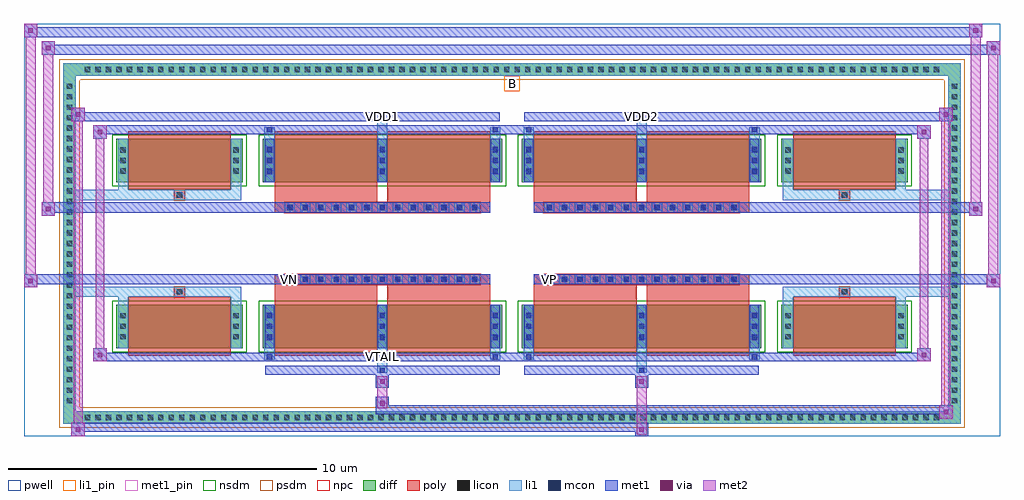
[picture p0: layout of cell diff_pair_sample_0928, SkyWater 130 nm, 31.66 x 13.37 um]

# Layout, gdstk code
import gdstk
lib = gdstk.Library(unit=1e-6, precision=5e-09)
def R(c, l, rs):  # rectangles x0, y0, x1, y1
    for r in rs: c.add(gdstk.rectangle(r[:2], r[2:], *l))
def A(c, l, x, y, w, h, nx, ny, dx, dy):  # array of equal rectangles
    R(c, l, [(x+i*dx, y+j*dy, x+i*dx+w, y+j*dy+h) for i in range(nx) for j in range(ny)])
def P(c, l, *ps):  # polygons
    for p in ps: c.add(gdstk.Polygon(p, *l))
pwell = (64, 44)
diff = (65, 20)
poly = (66, 20)
licon = (66, 44)
li1_pin = (67, 16)
li1 = (67, 20)
mcon = (67, 44)
met1_pin = (68, 16)
met1 = (68, 20)
via = (68, 44)
met2 = (69, 20)
nsdm = (93, 44)
psdm = (94, 20)
npc = (95, 20)

diff_pair_sample_0928 = lib.new_cell('diff_pair_sample_0928')
R(diff_pair_sample_0928, pwell, [(-15.83,-6.25,15.83,7.12), (-13.15,-4.44,-0.01,-0.8), (0.01,-4.44,13.15,-0.8), (-13.15,0.8,-0.01,4.44), (0.01,0.8,13.15,4.44)])
A(diff_pair_sample_0928, diff, -13.975, -5.85, 0.41, 0.41, 82, 2, 0.34, 11.29)
A(diff_pair_sample_0928, diff, -14.56, -5.305, 0.41, 0.41, 1, 31, 0, 0.34)
A(diff_pair_sample_0928, diff, 14.15, -5.305, 0.41, 0.41, 1, 31, 0, 0.34)
R(diff_pair_sample_0928, diff, [(-13.975,-5.85,13.975,-5.44), (-14.56,-5.305,-14.15,5.305), (14.15,-5.305,14.56,5.305), (-12.84,-3.395,-8.73,-1.985), (-8.09,-3.395,-0.32,-1.985), (0.32,-3.395,8.09,-1.985), (8.73,-3.395,12.84,-1.985), (-12.84,1.985,-8.73,3.395), (-8.09,1.985,-0.32,3.395), (0.32,1.985,8.09,3.395), (8.73,1.985,12.84,3.395), (-13.975,5.44,13.975,5.85)])
P(diff_pair_sample_0928, diff, [(14.56,5.85),(-14.56,5.85),(-14.56,-5.44),(-14.15,-5.44),(-14.15,5.44),(14.15,5.44),(14.15,-5.44),(-14.15,-5.44),(-14.56,-5.44),(-14.56,-5.85),(14.56,-5.85)])
A(diff_pair_sample_0928, poly, -7.37, -1.33, 0.33, 0.33, 13, 2, 0.5, 2.33)
A(diff_pair_sample_0928, poly, 1.04, -1.33, 0.33, 0.33, 13, 2, 0.5, 2.33)
R(diff_pair_sample_0928, poly, [(-12.45,-3.645,-9.12,-1.735), (-7.7,-3.645,-4.37,-1.735), (-4.04,-3.645,-0.71,-1.735), (0.71,-3.645,4.04,-1.735), (4.37,-3.645,7.7,-1.735), (9.12,-3.645,12.45,-1.735), (-10.95,-1.735,-10.62,-1.405), (-10.95,-1.735,-10.62,-1.405), (-7.7,-1.735,-4.37,-1.33), (-4.04,-1.735,-0.71,-1.33), (0.71,-1.735,4.04,-1.33), (4.37,-1.735,7.7,-1.33), (10.62,-1.735,10.95,-1.405), (10.62,-1.735,10.95,-1.405), (-7.7,-1.33,-0.71,-1), (0.71,-1.33,7.7,-1), (-7.7,1,-0.71,1.33), (0.71,1,7.7,1.33), (-7.7,1.33,-4.37,1.735), (-4.04,1.33,-0.71,1.735), (0.71,1.33,4.04,1.735), (4.37,1.33,7.7,1.735), (-10.95,1.405,-10.62,1.735), (-10.95,1.405,-10.62,1.735), (10.62,1.405,10.95,1.735), (10.62,1.405,10.95,1.735), (-12.45,1.735,-9.12,3.645), (-7.7,1.735,-4.37,3.645), (-4.04,1.735,-0.71,3.645), (0.71,1.735,4.04,3.645), (4.37,1.735,7.7,3.645), (9.12,1.735,12.45,3.645)])
A(diff_pair_sample_0928, licon, -13.855, -5.73, 0.17, 0.17, 82, 2, 0.34, 11.29)
A(diff_pair_sample_0928, licon, -14.44, -5.185, 0.17, 0.17, 1, 31, 0, 0.34)
A(diff_pair_sample_0928, licon, 14.27, -5.185, 0.17, 0.17, 1, 31, 0, 0.34)
A(diff_pair_sample_0928, licon, -12.7, -3.115, 0.17, 0.17, 1, 3, 0, 0.34)
A(diff_pair_sample_0928, licon, -9.04, -3.115, 0.17, 0.17, 1, 3, 0, 0.34)
A(diff_pair_sample_0928, licon, -7.95, -3.115, 0.17, 0.17, 3, 3, 3.66, 0.34)
A(diff_pair_sample_0928, licon, 0.46, -3.115, 0.17, 0.17, 3, 3, 3.66, 0.34)
A(diff_pair_sample_0928, licon, 8.87, -3.115, 0.17, 0.17, 1, 3, 0, 0.34)
A(diff_pair_sample_0928, licon, 12.53, -3.115, 0.17, 0.17, 1, 3, 0, 0.34)
A(diff_pair_sample_0928, licon, -7.29, -1.25, 0.17, 0.17, 13, 2, 0.5, 2.33)
A(diff_pair_sample_0928, licon, 1.12, -1.25, 0.17, 0.17, 13, 2, 0.5, 2.33)
A(diff_pair_sample_0928, licon, -12.7, 2.265, 0.17, 0.17, 1, 3, 0, 0.34)
A(diff_pair_sample_0928, licon, -9.04, 2.265, 0.17, 0.17, 1, 3, 0, 0.34)
A(diff_pair_sample_0928, licon, -7.95, 2.265, 0.17, 0.17, 3, 3, 3.66, 0.34)
A(diff_pair_sample_0928, licon, 0.46, 2.265, 0.17, 0.17, 3, 3, 3.66, 0.34)
A(diff_pair_sample_0928, licon, 8.87, 2.265, 0.17, 0.17, 1, 3, 0, 0.34)
A(diff_pair_sample_0928, licon, 12.53, 2.265, 0.17, 0.17, 1, 3, 0, 0.34)
R(diff_pair_sample_0928, licon, [(-10.87,-1.655,-10.7,-1.485), (10.7,-1.655,10.87,-1.485), (-10.87,1.485,-10.7,1.655), (10.7,1.485,10.87,1.655)])
R(diff_pair_sample_0928, li1_pin, [(-0.25,4.94,0.25,5.44)])
A(diff_pair_sample_0928, li1, -13.935, -5.81, 0.33, 0.33, 82, 2, 0.34, 11.29)
A(diff_pair_sample_0928, li1, -14.52, -5.265, 0.33, 0.33, 1, 31, 0, 0.34)
A(diff_pair_sample_0928, li1, 14.19, -5.265, 0.33, 0.33, 1, 31, 0, 0.34)
A(diff_pair_sample_0928, li1, -8.03, -3.395, 0.33, 1.41, 3, 2, 3.66, 5.38)
A(diff_pair_sample_0928, li1, 0.38, -3.395, 0.33, 1.41, 3, 2, 3.66, 5.38)
A(diff_pair_sample_0928, li1, -12.78, -3.195, 0.33, 0.33, 1, 3, 0, 0.34)
A(diff_pair_sample_0928, li1, -9.12, -3.195, 0.33, 0.33, 1, 3, 0, 0.34)
A(diff_pair_sample_0928, li1, -8.03, -3.195, 0.33, 0.33, 3, 3, 3.66, 0.34)
A(diff_pair_sample_0928, li1, 0.38, -3.195, 0.33, 0.33, 3, 3, 3.66, 0.34)
A(diff_pair_sample_0928, li1, 8.79, -3.195, 0.33, 0.33, 1, 3, 0, 0.34)
A(diff_pair_sample_0928, li1, 12.45, -3.195, 0.33, 0.33, 1, 3, 0, 0.34)
A(diff_pair_sample_0928, li1, -7.95, -3.135, 0.17, 0.17, 3, 3, 3.66, 0.36)
A(diff_pair_sample_0928, li1, -7.95, -3.135, 0.17, 0.89, 3, 2, 3.66, 5.38)
A(diff_pair_sample_0928, li1, 0.46, -3.135, 0.17, 0.17, 3, 3, 3.66, 0.36)
A(diff_pair_sample_0928, li1, 0.46, -3.135, 0.17, 0.89, 3, 2, 3.66, 5.38)
A(diff_pair_sample_0928, li1, -7.37, -1.33, 0.33, 0.33, 13, 2, 0.5, 2.33)
A(diff_pair_sample_0928, li1, 1.04, -1.33, 0.33, 0.33, 13, 2, 0.5, 2.33)
A(diff_pair_sample_0928, li1, -12.78, 2.185, 0.33, 0.33, 1, 3, 0, 0.34)
A(diff_pair_sample_0928, li1, -9.12, 2.185, 0.33, 0.33, 1, 3, 0, 0.34)
A(diff_pair_sample_0928, li1, -8.03, 2.185, 0.33, 0.33, 3, 3, 3.66, 0.34)
A(diff_pair_sample_0928, li1, 0.38, 2.185, 0.33, 0.33, 3, 3, 3.66, 0.34)
A(diff_pair_sample_0928, li1, 8.79, 2.185, 0.33, 0.33, 1, 3, 0, 0.34)
A(diff_pair_sample_0928, li1, 12.45, 2.185, 0.33, 0.33, 1, 3, 0, 0.34)
A(diff_pair_sample_0928, li1, -7.95, 2.245, 0.17, 0.17, 3, 3, 3.66, 0.36)
A(diff_pair_sample_0928, li1, 0.46, 2.245, 0.17, 0.17, 3, 3, 3.66, 0.36)
R(diff_pair_sample_0928, li1, [(-14.56,-5.85,-14.15,-5.44), (-14.56,-5.85,-14.15,-5.44), (-14.15,-5.85,14.15,-5.44), (14.15,-5.85,14.56,-5.44), (14.15,-5.85,14.56,-5.44), (-14.56,-5.44,-14.15,5.44), (14.15,-5.44,14.56,5.44), (-4.37,-4.2,-4.04,-3.395), (-4.29,-4.2,-4.12,-4.03), (4.04,-4.2,4.37,-3.395), (4.12,-4.2,4.29,-4.03), (-8.03,-3.77,-7.7,-3.395), (-7.95,-3.77,-7.78,-3.6), (-0.71,-3.77,-0.38,-3.395), (-0.63,-3.77,-0.46,-3.6), (0.38,-3.77,0.71,-3.395), (0.46,-3.77,0.63,-3.6), (7.7,-3.77,8.03,-3.395), (7.78,-3.77,7.95,-3.6), (-12.78,-3.395,-12.45,-1.985), (-9.12,-3.395,-8.79,-1.985), (8.79,-3.395,9.12,-1.985), (12.45,-3.395,12.78,-1.985), (-12.78,-1.985,-12.45,-1.405), (-9.12,-1.985,-8.79,-1.405), (8.79,-1.985,9.12,-1.405), (12.45,-1.985,12.78,-1.405), (-14.56,-1.735,-10.95,-1.405), (-12.78,-1.735,-10.95,-1.405), (-10.95,-1.735,-10.62,-1.405), (-10.62,-1.735,-8.79,-1.405), (8.79,-1.735,10.62,-1.405), (10.62,-1.735,10.95,-1.405), (10.62,-1.735,14.56,-1.405), (10.95,-1.735,12.78,-1.405), (-14.56,1.405,-10.95,1.735), (-12.78,1.405,-10.95,1.735), (-12.78,1.405,-12.45,1.985), (-10.95,1.405,-10.62,1.735), (-10.62,1.405,-8.79,1.735), (-9.12,1.405,-8.79,1.985), (8.79,1.405,10.62,1.735), (8.79,1.405,9.12,1.985), (10.62,1.405,10.95,1.735), (10.62,1.405,14.56,1.735), (10.95,1.405,12.78,1.735), (12.45,1.405,12.78,1.985), (-12.78,1.985,-12.45,3.395), (-9.12,1.985,-8.79,3.395), (8.79,1.985,9.12,3.395), (12.45,1.985,12.78,3.395), (-8.03,3.395,-7.7,3.77), (-4.37,3.395,-4.04,4.2), (-0.71,3.395,-0.38,3.77), (0.38,3.395,0.71,3.77), (4.04,3.395,4.37,4.2), (7.7,3.395,8.03,3.77), (-7.95,3.6,-7.78,3.77), (-0.63,3.6,-0.46,3.77), (0.46,3.6,0.63,3.77), (7.78,3.6,7.95,3.77), (-4.29,4.03,-4.12,4.2), (4.12,4.03,4.29,4.2), (-14.56,5.44,-14.15,5.85), (-14.56,5.44,-14.15,5.85), (-14.15,5.44,14.15,5.85), (14.15,5.44,14.56,5.85), (14.15,5.44,14.56,5.85)])
A(diff_pair_sample_0928, mcon, -7.95, -3.135, 0.17, 0.17, 3, 3, 3.66, 0.36)
A(diff_pair_sample_0928, mcon, 0.46, -3.135, 0.17, 0.17, 3, 3, 3.66, 0.36)
A(diff_pair_sample_0928, mcon, -7.29, -1.25, 0.17, 0.17, 13, 2, 0.5, 2.33)
A(diff_pair_sample_0928, mcon, 1.12, -1.25, 0.17, 0.17, 13, 2, 0.5, 2.33)
A(diff_pair_sample_0928, mcon, -7.95, 2.245, 0.17, 0.17, 3, 3, 3.66, 0.36)
A(diff_pair_sample_0928, mcon, 0.46, 2.245, 0.17, 0.17, 3, 3, 3.66, 0.36)
R(diff_pair_sample_0928, mcon, [(-4.29,-4.2,-4.12,-4.03), (4.12,-4.2,4.29,-4.03), (-7.95,-3.77,-7.78,-3.6), (-0.63,-3.77,-0.46,-3.6), (0.46,-3.77,0.63,-3.6), (7.78,-3.77,7.95,-3.6), (-7.95,3.6,-7.78,3.77), (-0.63,3.6,-0.46,3.77), (0.46,3.6,0.63,3.77), (7.78,3.6,7.95,3.77), (-4.29,4.03,-4.12,4.2), (4.12,4.03,4.29,4.2)])
R(diff_pair_sample_0928, met1_pin, [(-4.34,-3.81,-4.07,-3.54), (-7.34,-1.29,-7.07,-1.02), (1.07,-1.29,1.34,-1.02), (-4.34,3.99,-4.07,4.26), (4.07,3.99,4.34,4.26)])
A(diff_pair_sample_0928, met1, -8.01, -3.395, 0.29, 1.41, 3, 2, 3.66, 5.38)
A(diff_pair_sample_0928, met1, 0.4, -3.395, 0.29, 1.41, 3, 2, 3.66, 5.38)
A(diff_pair_sample_0928, met1, -8.01, -3.195, 0.29, 0.29, 3, 3, 3.66, 0.36)
A(diff_pair_sample_0928, met1, 0.4, -3.195, 0.29, 0.29, 3, 3, 3.66, 0.36)
A(diff_pair_sample_0928, met1, -7.35, -1.31, 0.29, 0.29, 13, 2, 0.5, 2.33)
A(diff_pair_sample_0928, met1, 1.06, -1.31, 0.29, 0.29, 13, 2, 0.5, 2.33)
A(diff_pair_sample_0928, met1, -8.01, 2.185, 0.29, 0.29, 3, 3, 3.66, 0.36)
A(diff_pair_sample_0928, met1, 0.4, 2.185, 0.29, 0.29, 3, 3, 3.66, 0.36)
R(diff_pair_sample_0928, met1, [(-14.29,-6.25,-13.86,-5.82), (3.99,-6.25,4.42,-5.82), (-14.29,-6.11,4.42,-5.82), (13.86,-5.68,14.29,-5.25), (-4.42,-5.54,14.29,-5.25), (-4.42,-5.4,-3.99,-4.97), (-4.42,-4.69,-3.99,-4.26), (3.99,-4.69,4.42,-4.26), (-8.01,-4.26,-0.4,-3.97), (-4.35,-4.26,-4.06,-3.97), (0.4,-4.26,8.01,-3.97), (4.06,-4.26,4.35,-3.97), (-13.58,-3.83,-13.15,-3.4), (-13.58,-3.83,-8.01,-3.54), (-8.01,-3.83,-7.72,-3.54), (-8.01,-3.83,-0.4,-3.54), (-0.69,-3.83,-0.4,-3.54), (-0.4,-3.83,0.4,-3.54), (0.4,-3.83,0.69,-3.54), (0.4,-3.83,8.01,-3.54), (7.72,-3.83,8.01,-3.54), (8.01,-3.83,13.58,-3.54), (13.15,-3.83,13.58,-3.4), (-15.83,-1.43,-15.4,-1), (15.4,-1.43,15.83,-1), (-15.83,-1.33,-0.71,-1), (-7.7,-1.33,-0.71,-1), (0.71,-1.33,7.7,-1), (0.71,-1.33,15.83,-1), (-15.26,0.9,-14.83,1.33), (14.83,0.9,15.26,1.33), (-15.26,1,-7.7,1.33), (-7.7,1,-0.71,1.33), (0.71,1,7.7,1.33), (7.7,1,15.26,1.33), (-13.58,3.4,-13.15,3.83), (13.15,3.4,13.58,3.83), (-13.58,3.54,-8.01,3.83), (-8.01,3.54,-7.72,3.83), (-8.01,3.54,-0.4,3.83), (-0.69,3.54,-0.4,3.83), (-0.4,3.54,0.4,3.83), (0.4,3.54,0.69,3.83), (0.4,3.54,8.01,3.83), (7.72,3.54,8.01,3.83), (8.01,3.54,13.58,3.83), (-14.29,3.97,-13.86,4.4), (-14.29,3.97,-8.01,4.26), (-8.01,3.97,-0.4,4.26), (-4.35,3.97,-4.06,4.26), (0.4,3.97,8.01,4.26), (4.06,3.97,4.35,4.26), (8.01,3.97,14.29,4.26), (13.86,3.97,14.29,4.4), (-15.26,6.12,-14.83,6.55), (-15.26,6.12,-13.15,6.45), (-13.15,6.12,13.15,6.45), (13.15,6.12,15.83,6.45), (15.4,6.12,15.83,6.55), (-15.83,6.69,-15.4,7.12), (-15.83,6.69,-13.15,7.02), (-13.15,6.69,13.15,7.02), (13.15,6.69,15.26,7.02), (14.83,6.69,15.26,7.12)])
R(diff_pair_sample_0928, via, [(-14.15,-6.11,-14,-5.96), (4.13,-6.11,4.28,-5.96), (14,-5.54,14.15,-5.39), (-4.28,-5.26,-4.13,-5.11), (-4.28,-4.55,-4.13,-4.4), (4.13,-4.55,4.28,-4.4), (-13.44,-3.69,-13.29,-3.54), (13.29,-3.69,13.44,-3.54), (-15.69,-1.29,-15.54,-1.14), (15.54,-1.29,15.69,-1.14), (-15.12,1.04,-14.97,1.19), (14.97,1.04,15.12,1.19), (-13.44,3.54,-13.29,3.69), (13.29,3.54,13.44,3.69), (-14.15,4.11,-14,4.26), (14,4.11,14.15,4.26), (-15.12,6.26,-14.97,6.41), (15.54,6.26,15.69,6.41), (-15.69,6.83,-15.54,6.98), (14.97,6.83,15.12,6.98)])
R(diff_pair_sample_0928, met2, [(-14.29,-6.25,-13.86,-5.82), (-14.22,-6.25,-13.93,4.4), (-13.93,-6.25,-13.86,-5.82), (-14.24,-6.2,-13.91,-5.87), (4.04,-6.2,4.37,-5.87), (4.04,-5.87,4.37,-4.64), (13.86,-5.68,14.29,-5.25), (13.93,-5.68,14.22,4.4), (14.22,-5.68,14.29,-5.25), (13.91,-5.63,14.24,-5.3), (-4.37,-5.35,-4.04,-5.02), (-4.37,-5.02,-4.04,-4.64), (-4.37,-4.64,-4.04,-4.31), (4.04,-4.64,4.37,-4.31), (-13.58,-3.83,-13.15,-3.4), (-13.51,-3.83,-13.22,3.83), (-13.22,-3.83,-13.15,-3.4), (13.15,-3.83,13.58,-3.4), (13.22,-3.83,13.51,3.83), (13.51,-3.83,13.58,-3.4), (-13.53,-3.78,-13.2,-3.45), (13.2,-3.78,13.53,-3.45), (-15.83,-1.43,-15.4,-1), (-15.78,-1.43,-15.45,7.12), (-15.45,-1.43,-15.4,-1), (15.4,-1.43,15.83,-1), (15.45,-1.43,15.78,6.55), (15.78,-1.43,15.83,-1), (-15.78,-1.38,-15.45,-1.05), (15.45,-1.38,15.78,-1.05), (-15.26,0.9,-14.83,1.33), (-15.21,0.9,-14.88,6.55), (-14.88,0.9,-14.83,1.33), (14.83,0.9,15.26,1.33), (14.88,0.9,15.21,7.12), (15.21,0.9,15.26,1.33), (-15.21,0.95,-14.88,1.28), (14.88,0.95,15.21,1.28), (-13.58,3.4,-13.15,3.83), (-13.22,3.4,-13.15,3.83), (13.15,3.4,13.58,3.83), (13.51,3.4,13.58,3.83), (-13.53,3.45,-13.2,3.78), (13.2,3.45,13.53,3.78), (-14.29,3.97,-13.86,4.4), (-13.93,3.97,-13.86,4.4), (13.86,3.97,14.29,4.4), (14.22,3.97,14.29,4.4), (-14.24,4.02,-13.91,4.35), (13.91,4.02,14.24,4.35), (-15.26,6.12,-14.83,6.55), (-14.88,6.12,-14.83,6.55), (15.4,6.12,15.83,6.55), (15.78,6.12,15.83,6.55), (-15.21,6.17,-14.88,6.5), (15.45,6.17,15.78,6.5), (-15.83,6.69,-15.4,7.12), (-15.45,6.69,-15.4,7.12), (14.83,6.69,15.26,7.12), (15.21,6.69,15.26,7.12), (-15.78,6.74,-15.45,7.07), (14.88,6.74,15.21,7.07)])
R(diff_pair_sample_0928, nsdm, [(-12.97,-3.525,-8.6,-1.855), (-8.22,-3.525,-0.19,-1.855), (0.19,-3.525,8.22,-1.855), (8.6,-3.525,12.97,-1.855), (-12.97,1.855,-8.6,3.525), (-8.22,1.855,-0.19,3.525), (0.19,1.855,8.22,3.525), (8.6,1.855,12.97,3.525)])
P(diff_pair_sample_0928, psdm, [(14.69,5.98),(-14.69,5.98),(-14.69,-5.31),(-14.02,-5.31),(-14.02,5.31),(14.02,5.31),(14.02,-5.31),(-14.02,-5.31),(-14.69,-5.31),(-14.69,-5.98),(14.69,-5.98)])
A(diff_pair_sample_0928, npc, -7.39, -1.35, 0.37, 0.37, 13, 2, 0.5, 2.33)
A(diff_pair_sample_0928, npc, 1.02, -1.35, 0.37, 0.37, 13, 2, 0.5, 2.33)
R(diff_pair_sample_0928, npc, [(-10.97,-1.755,-10.6,-1.385), (10.6,-1.755,10.97,-1.385), (-7.39,-1.35,-6.52,-0.98), (-7.39,-1.35,-6.52,-0.98), (-6.89,-1.35,-6.02,-0.98), (-6.89,-1.35,-6.02,-0.98), (-6.39,-1.35,-5.52,-0.98), (-6.39,-1.35,-5.52,-0.98), (-5.89,-1.35,-5.02,-0.98), (-5.89,-1.35,-5.02,-0.98), (-5.39,-1.35,-4.52,-0.98), (-5.39,-1.35,-4.52,-0.98), (-4.89,-1.35,-4.02,-0.98), (-4.89,-1.35,-4.02,-0.98), (-4.39,-1.35,-3.52,-0.98), (-4.39,-1.35,-3.52,-0.98), (-3.89,-1.35,-3.02,-0.98), (-3.89,-1.35,-3.02,-0.98), (-3.39,-1.35,-2.52,-0.98), (-3.39,-1.35,-2.52,-0.98), (-2.89,-1.35,-2.02,-0.98), (-2.89,-1.35,-2.02,-0.98), (-2.39,-1.35,-1.52,-0.98), (-2.39,-1.35,-1.52,-0.98), (-1.89,-1.35,-1.02,-0.98), (-1.89,-1.35,-1.02,-0.98), (1.02,-1.35,1.89,-0.98), (1.02,-1.35,1.89,-0.98), (1.52,-1.35,2.39,-0.98), (1.52,-1.35,2.39,-0.98), (2.02,-1.35,2.89,-0.98), (2.02,-1.35,2.89,-0.98), (2.52,-1.35,3.39,-0.98), (2.52,-1.35,3.39,-0.98), (3.02,-1.35,3.89,-0.98), (3.02,-1.35,3.89,-0.98), (3.52,-1.35,4.39,-0.98), (3.52,-1.35,4.39,-0.98), (4.02,-1.35,4.89,-0.98), (4.02,-1.35,4.89,-0.98), (4.52,-1.35,5.39,-0.98), (4.52,-1.35,5.39,-0.98), (5.02,-1.35,5.89,-0.98), (5.02,-1.35,5.89,-0.98), (5.52,-1.35,6.39,-0.98), (5.52,-1.35,6.39,-0.98), (6.02,-1.35,6.89,-0.98), (6.02,-1.35,6.89,-0.98), (6.52,-1.35,7.39,-0.98), (6.52,-1.35,7.39,-0.98), (-7.39,0.98,-6.52,1.35), (-7.39,0.98,-6.52,1.35), (-6.89,0.98,-6.02,1.35), (-6.89,0.98,-6.02,1.35), (-6.39,0.98,-5.52,1.35), (-6.39,0.98,-5.52,1.35), (-5.89,0.98,-5.02,1.35), (-5.89,0.98,-5.02,1.35), (-5.39,0.98,-4.52,1.35), (-5.39,0.98,-4.52,1.35), (-4.89,0.98,-4.02,1.35), (-4.89,0.98,-4.02,1.35), (-4.39,0.98,-3.52,1.35), (-4.39,0.98,-3.52,1.35), (-3.89,0.98,-3.02,1.35), (-3.89,0.98,-3.02,1.35), (-3.39,0.98,-2.52,1.35), (-3.39,0.98,-2.52,1.35), (-2.89,0.98,-2.02,1.35), (-2.89,0.98,-2.02,1.35), (-2.39,0.98,-1.52,1.35), (-2.39,0.98,-1.52,1.35), (-1.89,0.98,-1.02,1.35), (-1.89,0.98,-1.02,1.35), (1.02,0.98,1.89,1.35), (1.02,0.98,1.89,1.35), (1.52,0.98,2.39,1.35), (1.52,0.98,2.39,1.35), (2.02,0.98,2.89,1.35), (2.02,0.98,2.89,1.35), (2.52,0.98,3.39,1.35), (2.52,0.98,3.39,1.35), (3.02,0.98,3.89,1.35), (3.02,0.98,3.89,1.35), (3.52,0.98,4.39,1.35), (3.52,0.98,4.39,1.35), (4.02,0.98,4.89,1.35), (4.02,0.98,4.89,1.35), (4.52,0.98,5.39,1.35), (4.52,0.98,5.39,1.35), (5.02,0.98,5.89,1.35), (5.02,0.98,5.89,1.35), (5.52,0.98,6.39,1.35), (5.52,0.98,6.39,1.35), (6.02,0.98,6.89,1.35), (6.02,0.98,6.89,1.35), (6.52,0.98,7.39,1.35), (6.52,0.98,7.39,1.35), (-10.97,1.385,-10.6,1.755), (10.6,1.385,10.97,1.755)])
diff_pair_sample_0928.add(gdstk.Label('VTAIL', (-4.205,-3.675), layer=68, texttype=5))
diff_pair_sample_0928.add(gdstk.Label('VN', (-7.205,-1.155), layer=68, texttype=5))
diff_pair_sample_0928.add(gdstk.Label('VP', (1.205,-1.155), layer=68, texttype=5))
diff_pair_sample_0928.add(gdstk.Label('B', (0,5.19), layer=67, texttype=5))
diff_pair_sample_0928.add(gdstk.Label('VDD2', (4.205,4.125), layer=68, texttype=5))
diff_pair_sample_0928.add(gdstk.Label('VDD1', (-4.205,4.125), layer=68, texttype=5))

lib.write_gds('diff_pair_sample_0928.gds')
